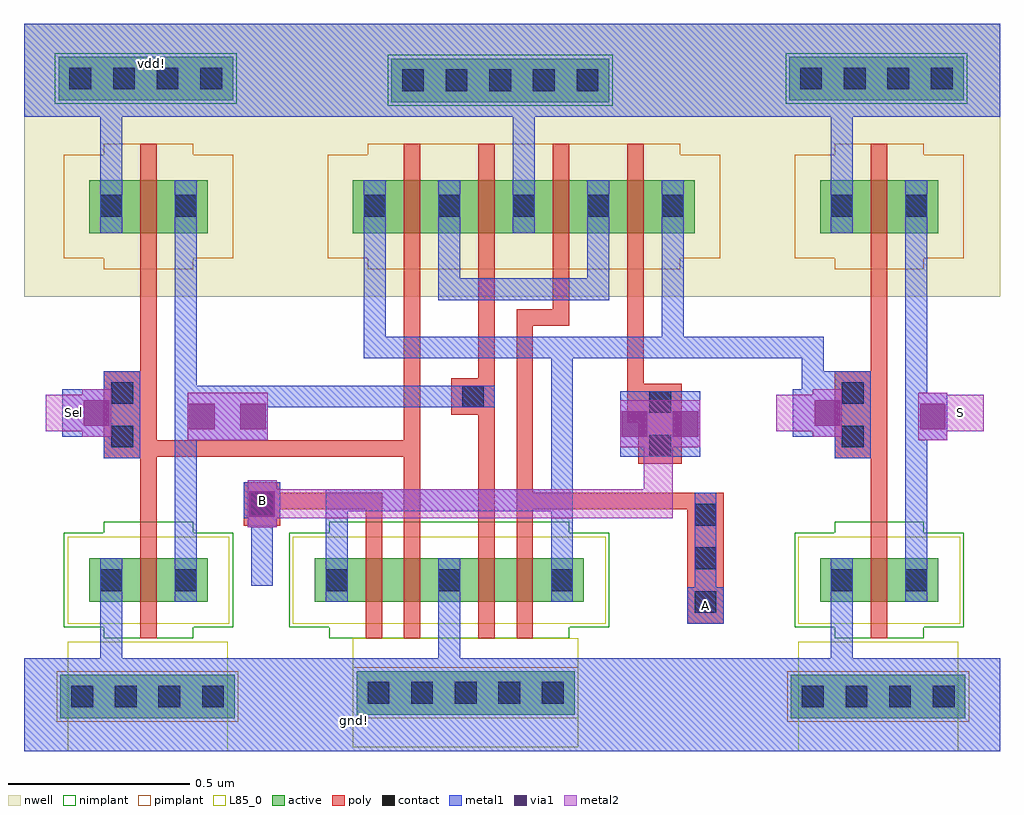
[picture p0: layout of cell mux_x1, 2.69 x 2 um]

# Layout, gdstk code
from math import pi, radians
import gdstk
lib = gdstk.Library(unit=1e-6, precision=5e-10)
def R(c, l, rs):  # rectangles x0, y0, x1, y1
    for r in rs: c.add(gdstk.rectangle(r[:2], r[2:], *l))
def A(c, l, x, y, w, h, nx, ny, dx, dy):  # array of equal rectangles
    R(c, l, [(x+i*dx, y+j*dy, x+i*dx+w, y+j*dy+h) for i in range(nx) for j in range(ny)])
active = (1, 0)
nwell = (2, 0)
poly = (3, 0)
nimplant = (4, 0)
pimplant = (5, 0)
contact = (6, 0)
metal1 = (7, 0)
via1 = (8, 0)
metal2 = (9, 0)
L85_0 = (85, 0)

nmos1v_cdns_764107443710 = lib.new_cell('nmos1v_CDNS_764107443710')
R(nmos1v_cdns_764107443710, active, [(-0.14,0,0,0.12), (0,0,0.045,0.12), (0.045,0,0.185,0.12)])
R(nmos1v_cdns_764107443710, poly, [(0,-0.1,0.045,-0.05), (0,-0.05,0.045,0), (0,0,0.045,0.12), (0,0.12,0.045,0.17), (0,0.17,0.045,0.22)])
R(nmos1v_cdns_764107443710, nimplant, [(-0.1,-0.1,0.145,0.22), (-0.21,-0.07,0.255,0.19)])
R(nmos1v_cdns_764107443710, contact, [(-0.11,0.03,-0.05,0.09), (0.095,0.03,0.155,0.09)])
R(nmos1v_cdns_764107443710, metal1, [(-0.11,0,-0.05,0.12), (0.095,0,0.155,0.12)])
R(nmos1v_cdns_764107443710, L85_0, [(-0.2,-0.06,0.245,0.18)])

pmos1v_cdns_764107443711 = lib.new_cell('pmos1v_CDNS_764107443711')
R(pmos1v_cdns_764107443711, active, [(-0.14,0,0,0.145), (0,0,0.045,0.145), (0.045,0,0.185,0.145)])
R(pmos1v_cdns_764107443711, nwell, [(-0.2,-0.06,0.245,0.205)])
R(pmos1v_cdns_764107443711, poly, [(0,-0.1,0.045,-0.05), (0,-0.05,0.045,0), (0,0,0.045,0.145), (0,0.145,0.045,0.195), (0,0.195,0.045,0.245)])
R(pmos1v_cdns_764107443711, pimplant, [(-0.1,-0.1,0.145,0.245), (-0.21,-0.07,0.255,0.215)])
R(pmos1v_cdns_764107443711, contact, [(-0.11,0.045,-0.05,0.105), (0.095,0.045,0.155,0.105)])
R(pmos1v_cdns_764107443711, metal1, [(-0.11,0,-0.05,0.145), (0.095,0,0.155,0.145)])

m1_psub_cdns_76410744371 = lib.new_cell('M1_PSUB_CDNS_764107443718')
R(m1_psub_cdns_76410744371, active, [(-0.24,-0.06,0.24,0.06)])
R(m1_psub_cdns_76410744371, pimplant, [(-0.25,-0.07,0.25,0.07)])
A(m1_psub_cdns_76410744371, contact, -0.21, -0.03, 0.06, 0.06, 4, 1, 0.12, 0)
R(m1_psub_cdns_76410744371, metal1, [(-0.21,-0.06,0.21,0.06)])
R(m1_psub_cdns_76410744371, L85_0, [(-0.22,-0.15,0.22,0.15)])

m1_po_cdns_764107443719 = lib.new_cell('M1_PO_CDNS_764107443719')
R(m1_po_cdns_764107443719, poly, [(-0.05,-0.12,0.05,0.12)])
R(m1_po_cdns_764107443719, contact, [(-0.03,-0.09,0.03,-0.03), (-0.03,0.03,0.03,0.09)])
R(m1_po_cdns_764107443719, metal1, [(-0.05,-0.12,0.05,0.12)])

m2_m1_cdns_764107443716 = lib.new_cell('M2_M1_CDNS_764107443716')
R(m2_m1_cdns_764107443716, metal1, [(-0.04,-0.065,0.04,0.065)])
R(m2_m1_cdns_764107443716, via1, [(-0.035,-0.035,0.035,0.035)])
R(m2_m1_cdns_764107443716, metal2, [(-0.04,-0.065,0.04,0.065)])

m2_m1_cdns_7641074437110 = lib.new_cell('M2_M1_CDNS_7641074437110')
R(m2_m1_cdns_7641074437110, metal1, [(-0.095,-0.065,0.095,0.065)])
R(m2_m1_cdns_7641074437110, via1, [(-0.035,-0.035,0.035,0.035)])
R(m2_m1_cdns_7641074437110, metal2, [(-0.04,-0.065,0.04,0.065)])

m1_nwell_cdns_7641074437 = lib.new_cell('M1_NWELL_CDNS_7641074437111')
R(m1_nwell_cdns_7641074437, active, [(-0.24,-0.06,0.24,0.06)])
R(m1_nwell_cdns_7641074437, nwell, [(-0.27,-0.15,0.27,0.15)])
R(m1_nwell_cdns_7641074437, nimplant, [(-0.25,-0.07,0.25,0.07)])
A(m1_nwell_cdns_7641074437, contact, -0.21, -0.03, 0.06, 0.06, 4, 1, 0.12, 0)
R(m1_nwell_cdns_7641074437, metal1, [(-0.21,-0.06,0.21,0.06)])

inv_x1 = lib.new_cell('inv_x1')
R(inv_x1, nwell, [(0,1.25,0.675,2)])
R(inv_x1, metal1, [(0,0,0.675,0.255), (0.275,0.035,0.375,0.135), (0,1.745,0.675,2), (0.3,1.895,0.4,1.995)])
R(inv_x1, metal2, [(0.06,0.88,0.16,0.98), (0.53,0.88,0.63,0.98)])
inv_x1.add(gdstk.FlexPath([(0.3425,1.325),(0.3425,0.63)], 0.045, ends="flush", simple_path=True, layer=3, datatype=0))  # poly
inv_x1.add(gdstk.FlexPath([(0.24,1.545),(0.24,1.93)], 0.06, ends=(0, 0.07), simple_path=True, layer=7, datatype=0))  # metal1
inv_x1.add(gdstk.FlexPath([(0.24,0.41),(0.24,0.07)], 0.06, ends=(0, 0.07), simple_path=True, layer=7, datatype=0))  # metal1
inv_x1.add(gdstk.FlexPath([(0.445,1.425),(0.445,0.53)], 0.06, ends="flush", simple_path=True, layer=7, datatype=0))  # metal1
inv_x1.add(gdstk.Reference(nmos1v_cdns_764107443710, (0.32,0.41)))
inv_x1.add(gdstk.Reference(pmos1v_cdns_764107443711, (0.32,1.425)))
inv_x1.add(gdstk.Reference(m1_psub_cdns_76410744371, (0.34,0.15)))
inv_x1.add(gdstk.Reference(m1_po_cdns_764107443719, (0.27,0.925)))
inv_x1.add(gdstk.Reference(m2_m1_cdns_764107443716, (0.49,0.92)))
inv_x1.add(gdstk.Reference(m2_m1_cdns_7641074437110, (0.2,0.93)))
inv_x1.add(gdstk.Reference(m1_nwell_cdns_7641074437, (0.335,1.85)))
inv_x1.add(gdstk.Label('vdd!', (0.35,1.945), layer=7, texttype=0))
inv_x1.add(gdstk.Label('gnd!', (0.325,0.085), layer=7, texttype=0))
inv_x1.add(gdstk.Label('Vin', (0.11,0.93), layer=9, texttype=0))
inv_x1.add(gdstk.Label('Vout', (0.58,0.93), layer=9, texttype=0))

pmos1v_cdns_764107443712 = lib.new_cell('pmos1v_CDNS_764107443712')
R(pmos1v_cdns_764107443712, active, [(-0.05,0,0,0.145), (0,0,0.045,0.145), (0.045,0,0.155,0.145)])
R(pmos1v_cdns_764107443712, nwell, [(-0.11,-0.06,0.215,0.205)])
R(pmos1v_cdns_764107443712, poly, [(0,-0.1,0.045,-0.05), (0,-0.05,0.045,0), (0,0,0.045,0.145), (0,0.145,0.045,0.195), (0,0.195,0.045,0.245)])
R(pmos1v_cdns_764107443712, pimplant, [(-0.1,-0.1,0.145,0.245), (-0.12,-0.07,0.225,0.215)])
R(pmos1v_cdns_764107443712, contact, [(0.095,0.045,0.155,0.105)])
R(pmos1v_cdns_764107443712, metal1, [(0.095,0,0.155,0.145)])

nmos1v_cdns_764107443713 = lib.new_cell('nmos1v_CDNS_764107443713')
R(nmos1v_cdns_764107443713, active, [(-0.05,0,0,0.12), (0,0,0.045,0.12), (0.045,0,0.075,0.12)])
R(nmos1v_cdns_764107443713, poly, [(0,-0.1,0.045,-0.05), (0,-0.05,0.045,0), (0,0,0.045,0.12), (0,0.12,0.045,0.17), (0,0.17,0.045,0.22)])
R(nmos1v_cdns_764107443713, nimplant, [(-0.1,-0.1,0.145,0.22), (-0.12,-0.07,0.145,0.19)])
R(nmos1v_cdns_764107443713, L85_0, [(-0.11,-0.06,0.135,0.18)])

nmos1v_cdns_764107443714 = lib.new_cell('nmos1v_CDNS_764107443714')
R(nmos1v_cdns_764107443714, active, [(-0.03,0,0,0.12), (0,0,0.045,0.12), (0.045,0,0.185,0.12)])
R(nmos1v_cdns_764107443714, poly, [(0,-0.1,0.045,-0.05), (0,-0.05,0.045,0), (0,0,0.045,0.12), (0,0.12,0.045,0.17), (0,0.17,0.045,0.22)])
R(nmos1v_cdns_764107443714, nimplant, [(-0.1,-0.1,0.145,0.22), (-0.1,-0.07,0.255,0.19)])
R(nmos1v_cdns_764107443714, contact, [(0.095,0.03,0.155,0.09)])
R(nmos1v_cdns_764107443714, metal1, [(0.095,0,0.155,0.12)])
R(nmos1v_cdns_764107443714, L85_0, [(-0.09,-0.06,0.245,0.18)])

nmos1v_cdns_764107443715 = lib.new_cell('nmos1v_CDNS_764107443715')
R(nmos1v_cdns_764107443715, active, [(-0.11,0,0,0.12), (0,0,0.045,0.12), (0.045,0,0.075,0.12)])
R(nmos1v_cdns_764107443715, poly, [(0,-0.1,0.045,-0.05), (0,-0.05,0.045,0), (0,0,0.045,0.12), (0,0.12,0.045,0.17), (0,0.17,0.045,0.22)])
R(nmos1v_cdns_764107443715, nimplant, [(-0.1,-0.1,0.145,0.22), (-0.18,-0.07,0.145,0.19)])
R(nmos1v_cdns_764107443715, contact, [(-0.11,0.03,-0.05,0.09)])
R(nmos1v_cdns_764107443715, metal1, [(-0.11,0,-0.05,0.12)])
R(nmos1v_cdns_764107443715, L85_0, [(-0.17,-0.06,0.135,0.18)])

pmos1v_cdns_764107443716 = lib.new_cell('pmos1v_CDNS_764107443716')
R(pmos1v_cdns_764107443716, active, [(-0.05,0,0,0.145), (0,0,0.045,0.145), (0.045,0,0.185,0.145)])
R(pmos1v_cdns_764107443716, nwell, [(-0.11,-0.06,0.245,0.205)])
R(pmos1v_cdns_764107443716, poly, [(0,-0.1,0.045,-0.05), (0,-0.05,0.045,0), (0,0,0.045,0.145), (0,0.145,0.045,0.195), (0,0.195,0.045,0.245)])
R(pmos1v_cdns_764107443716, pimplant, [(-0.1,-0.1,0.145,0.245), (-0.12,-0.07,0.255,0.215)])
R(pmos1v_cdns_764107443716, contact, [(0.095,0.045,0.155,0.105)])
R(pmos1v_cdns_764107443716, metal1, [(0.095,0,0.155,0.145)])

pmos1v_cdns_764107443717 = lib.new_cell('pmos1v_CDNS_764107443717')
R(pmos1v_cdns_764107443717, active, [(-0.14,0,0,0.145), (0,0,0.045,0.145), (0.045,0,0.095,0.145)])
R(pmos1v_cdns_764107443717, nwell, [(-0.2,-0.06,0.155,0.205)])
R(pmos1v_cdns_764107443717, poly, [(0,-0.1,0.045,-0.05), (0,-0.05,0.045,0), (0,0,0.045,0.145), (0,0.145,0.045,0.195), (0,0.195,0.045,0.245)])
R(pmos1v_cdns_764107443717, pimplant, [(-0.1,-0.1,0.145,0.245), (-0.21,-0.07,0.165,0.215)])
R(pmos1v_cdns_764107443717, contact, [(-0.11,0.045,-0.05,0.105)])
R(pmos1v_cdns_764107443717, metal1, [(-0.11,0,-0.05,0.145)])

pmos1v_cdns_764107443718 = lib.new_cell('pmos1v_CDNS_764107443718')
R(pmos1v_cdns_764107443718, active, [(-0.11,0,0,0.145), (0,0,0.045,0.145), (0.045,0,0.155,0.145)])
R(pmos1v_cdns_764107443718, nwell, [(-0.17,-0.06,0.215,0.205)])
R(pmos1v_cdns_764107443718, poly, [(0,-0.1,0.045,-0.05), (0,-0.05,0.045,0), (0,0,0.045,0.145), (0,0.145,0.045,0.195), (0,0.195,0.045,0.245)])
R(pmos1v_cdns_764107443718, pimplant, [(-0.1,-0.1,0.145,0.245), (-0.18,-0.07,0.225,0.215)])
R(pmos1v_cdns_764107443718, contact, [(-0.11,0.045,-0.05,0.105), (0.095,0.045,0.155,0.105)])
R(pmos1v_cdns_764107443718, metal1, [(-0.11,0,-0.05,0.145), (0.095,0,0.155,0.145)])

m1_po_cdns_764107443710 = lib.new_cell('M1_PO_CDNS_764107443710')
R(m1_po_cdns_764107443710, poly, [(-0.05,-0.18,0.05,0.18)])
A(m1_po_cdns_764107443710, contact, -0.03, -0.15, 0.06, 0.06, 1, 3, 0, 0.12)
R(m1_po_cdns_764107443710, metal1, [(-0.03,-0.18,0.03,0.18)])

m1_po_cdns_764107443711 = lib.new_cell('M1_PO_CDNS_764107443711')
R(m1_po_cdns_764107443711, poly, [(-0.05,-0.06,0.05,0.06)])
R(m1_po_cdns_764107443711, contact, [(-0.03,-0.03,0.03,0.03)])
R(m1_po_cdns_764107443711, metal1, [(-0.03,-0.06,0.03,0.06)])

m2_m1_cdns_764107443712 = lib.new_cell('M2_M1_CDNS_764107443712')
R(m2_m1_cdns_764107443712, metal1, [(-0.11,-0.065,0.11,0.065)])
R(m2_m1_cdns_764107443712, via1, [(-0.105,-0.035,-0.035,0.035), (0.035,-0.035,0.105,0.035)])
R(m2_m1_cdns_764107443712, metal2, [(-0.11,-0.065,0.11,0.065)])

m1_po_cdns_764107443713 = lib.new_cell('M1_PO_CDNS_764107443713')
R(m1_po_cdns_764107443713, poly, [(-0.05,-0.12,0.05,0.12)])
R(m1_po_cdns_764107443713, contact, [(-0.03,-0.09,0.03,-0.03), (-0.03,0.03,0.03,0.09)])
R(m1_po_cdns_764107443713, metal1, [(-0.03,-0.12,0.03,0.12)])

c_m1_nwell_cdns_7641074437 = lib.new_cell('M1_NWELL_CDNS_764107443714')
R(c_m1_nwell_cdns_7641074437, active, [(-0.06,-0.3,0.06,0.3)])
R(c_m1_nwell_cdns_7641074437, nwell, [(-0.15,-0.36,0.15,0.36)])
R(c_m1_nwell_cdns_7641074437, nimplant, [(-0.07,-0.31,0.07,0.31)])
A(c_m1_nwell_cdns_7641074437, contact, -0.03, -0.27, 0.06, 0.06, 1, 5, 0, 0.12)
R(c_m1_nwell_cdns_7641074437, metal1, [(-0.03,-0.3,0.03,0.3)])

c_m1_psub_cdns_76410744371 = lib.new_cell('M1_PSUB_CDNS_764107443715')
R(c_m1_psub_cdns_76410744371, active, [(-0.06,-0.3,0.06,0.3)])
R(c_m1_psub_cdns_76410744371, pimplant, [(-0.07,-0.31,0.07,0.31)])
A(c_m1_psub_cdns_76410744371, contact, -0.03, -0.27, 0.06, 0.06, 1, 5, 0, 0.12)
R(c_m1_psub_cdns_76410744371, metal1, [(-0.03,-0.3,0.03,0.3)])
R(c_m1_psub_cdns_76410744371, L85_0, [(-0.15,-0.31,0.15,0.31)])

m1_po_cdns_764107443717 = lib.new_cell('M1_PO_CDNS_764107443717')
R(m1_po_cdns_764107443717, poly, [(-0.11,-0.06,0.11,0.06)])
R(m1_po_cdns_764107443717, contact, [(-0.09,-0.03,-0.03,0.03), (0.03,-0.03,0.09,0.03)])
R(m1_po_cdns_764107443717, metal1, [(-0.09,-0.11,0.09,0.11)])

mux_x1 = lib.new_cell('mux_x1')
R(mux_x1, nwell, [(0,1.25,2.685,2)])
R(mux_x1, metal1, [(0,0,2.685,0.255), (0.86,0.035,0.96,0.135), (1.825,0.35,1.925,0.45), (0.605,0.64,0.705,0.74), (2.2,0.995,2.23,1.045), (0,1.745,2.685,2), (0.3,1.84,0.4,1.94)])
R(mux_x1, metal2, [(0.085,0.88,0.185,0.98), (2.525,0.88,2.625,0.98)])
mux_x1.add(gdstk.FlexPath([(1.2725,0.63),(1.2725,1.325)], 0.045, ends="flush", simple_path=True, layer=3, datatype=0))  # poly
mux_x1.add(gdstk.FlexPath([(1.6825,1.325),(1.6825,0.905)], 0.045, ends="flush", simple_path=True, layer=3, datatype=0))  # poly
mux_x1.add(gdstk.FlexPath([(1.0675,0.8325),(1.0675,0.63)], 0.045, ends=(0.0225, 0), simple_path=True, layer=3, datatype=0))  # poly
mux_x1.add(gdstk.FlexPath([(1.3775,1.1925),(1.4775,1.1925)], 0.045, ends="extended", simple_path=True, layer=3, datatype=0))  # poly
mux_x1.add(gdstk.FlexPath([(1.3775,0.63),(1.3775,0.6875)], 0.045, ends=(0, 0.0225), simple_path=True, layer=3, datatype=0))  # poly
mux_x1.add(gdstk.FlexPath([(0.6525,0.6875),(0.6525,0.68)], 0.045, ends=(0.0225, 0), simple_path=True, layer=3, datatype=0))  # poly
mux_x1.add(gdstk.FlexPath([(1.4775,1.1925),(1.4775,1.325)], 0.045, ends=(0.0225, 0), simple_path=True, layer=3, datatype=0))  # poly
mux_x1.add(gdstk.FlexPath([(1.3775,0.6875),(1.3775,1.1925)], 0.045, ends="extended", simple_path=True, layer=3, datatype=0))  # poly
mux_x1.add(gdstk.FlexPath([(1.3775,0.6875),(1.875,0.6875)], 0.045, ends=(0.0225, 0), simple_path=True, layer=3, datatype=0))  # poly
mux_x1.add(gdstk.FlexPath([(0.9625,0.6875),(0.6525,0.6875)], 0.045, ends="extended", simple_path=True, layer=3, datatype=0))  # poly
mux_x1.add(gdstk.FlexPath([(0.9625,0.63),(0.9625,0.6875)], 0.045, ends=(0, 0.0225), simple_path=True, layer=3, datatype=0))  # poly
mux_x1.add(gdstk.FlexPath([(1.0675,0.8325),(0.315,0.8325)], 0.045, ends=(0.0225, 0), simple_path=True, layer=3, datatype=0))  # poly
mux_x1.add(gdstk.FlexPath([(1.0675,1.325),(1.0675,0.8325)], 0.045, ends=(0, 0.0225), simple_path=True, layer=3, datatype=0))  # poly
mux_x1.add(gdstk.FlexPath([(1.48,0.69),(1.48,1.11)], 0.06, ends="extended", simple_path=True, layer=7, datatype=0))  # metal1
mux_x1.add(gdstk.FlexPath([(0.965,1.11),(1.48,1.11)], 0.06, ends="extended", simple_path=True, layer=7, datatype=0))  # metal1
mux_x1.add(gdstk.FlexPath([(1.235,0.975),(0.415,0.975)], 0.06, ends="flush", simple_path=True, layer=7, datatype=0))  # metal1
mux_x1.add(gdstk.FlexPath([(1.48,0.69),(1.48,0.53)], 0.06, ends=(0.03, 0), simple_path=True, layer=7, datatype=0))  # metal1
mux_x1.add(gdstk.FlexPath([(1.785,1.11),(1.785,1.425)], 0.06, ends=(0.03, 0), simple_path=True, layer=7, datatype=0))  # metal1
mux_x1.add(gdstk.FlexPath([(0.655,0.68),(0.655,0.455)], 0.06, ends="flush", simple_path=True, layer=7, datatype=0))  # metal1
mux_x1.add(gdstk.FlexPath([(1.17,1.425),(1.17,1.27)], 0.06, ends=(0, 0.03), simple_path=True, layer=7, datatype=0))  # metal1
mux_x1.add(gdstk.FlexPath([(0.86,0.53),(0.86,0.69)], 0.06, ends=(0, 0.03), simple_path=True, layer=7, datatype=0))  # metal1
mux_x1.add(gdstk.FlexPath([(1.58,1.27),(1.58,1.425)], 0.06, ends=(0.03, 0), simple_path=True, layer=7, datatype=0))  # metal1
mux_x1.add(gdstk.FlexPath([(1.17,1.27),(1.58,1.27)], 0.06, ends="extended", simple_path=True, layer=7, datatype=0))  # metal1
mux_x1.add(gdstk.FlexPath([(0.86,0.69),(1.48,0.69)], 0.06, ends="extended", simple_path=True, layer=7, datatype=0))  # metal1
mux_x1.add(gdstk.FlexPath([(1.17,0.41),(1.17,0.255)], 0.06, ends="flush", simple_path=True, layer=7, datatype=0))  # metal1
mux_x1.add(gdstk.FlexPath([(1.375,1.57),(1.375,1.745)], 0.06, ends="flush", simple_path=True, layer=7, datatype=0))  # metal1
mux_x1.add(gdstk.FlexPath([(0.965,1.425),(0.965,1.11)], 0.06, ends=(0, 0.03), simple_path=True, layer=7, datatype=0))  # metal1
mux_x1.add(gdstk.FlexPath([(1.48,1.11),(1.785,1.11)], 0.06, ends="extended", simple_path=True, layer=7, datatype=0))  # metal1
mux_x1.add(gdstk.FlexPath([(1.875,0.685),(1.875,0.38)], 0.06, ends="flush", simple_path=True, layer=7, datatype=0))  # metal1
mux_x1.add(gdstk.FlexPath([(2.17,1.11),(2.17,0.905)], 0.06, ends=(0.03, 0), simple_path=True, layer=7, datatype=0))  # metal1
mux_x1.add(gdstk.FlexPath([(1.785,1.11),(2.17,1.11)], 0.06, ends="extended", simple_path=True, layer=7, datatype=0))  # metal1
mux_x1.add(gdstk.FlexPath([(1.745,0.68),(1.745,0.93)], 0.08, ends=(0.04, 0), simple_path=True, layer=9, datatype=0))  # metal2
mux_x1.add(gdstk.FlexPath([(0.655,0.68),(1.745,0.68)], 0.08, ends=(0, 0.04), simple_path=True, layer=9, datatype=0))  # metal2
mux_x1.add(gdstk.Reference(inv_x1, (2.01,0)))
mux_x1.add(gdstk.Reference(inv_x1, (0,0)))
mux_x1.add(gdstk.Reference(pmos1v_cdns_764107443712, (1.295,1.425), rotation=pi, x_reflection=True))
mux_x1.add(gdstk.Reference(nmos1v_cdns_764107443713, (1.25,0.41)))
mux_x1.add(gdstk.Reference(nmos1v_cdns_764107443714, (1.355,0.41)))
mux_x1.add(gdstk.Reference(nmos1v_cdns_764107443714, (0.985,0.41), rotation=pi, x_reflection=True))
mux_x1.add(gdstk.Reference(nmos1v_cdns_764107443715, (1.09,0.41), rotation=pi, x_reflection=True))
mux_x1.add(gdstk.Reference(pmos1v_cdns_764107443716, (1.09,1.425), rotation=pi, x_reflection=True))
mux_x1.add(gdstk.Reference(pmos1v_cdns_764107443717, (1.705,1.425), rotation=pi, x_reflection=True))
mux_x1.add(gdstk.Reference(pmos1v_cdns_764107443718, (1.5,1.425), rotation=pi, x_reflection=True))
mux_x1.add(gdstk.Reference(m1_po_cdns_764107443710, (1.875,0.53)))
mux_x1.add(gdstk.Reference(m1_po_cdns_764107443711, (0.655,0.68)))
mux_x1.add(gdstk.Reference(m1_po_cdns_764107443711, (1.235,0.975), rotation=pi/2))
mux_x1.add(gdstk.Reference(m2_m1_cdns_764107443712, (1.75,0.9), rotation=pi))
mux_x1.add(gdstk.Reference(m2_m1_cdns_764107443712, (0.56,0.92)))
mux_x1.add(gdstk.Reference(m1_po_cdns_764107443713, (0.27,0.925)))
mux_x1.add(gdstk.Reference(c_m1_nwell_cdns_7641074437, (1.31,1.845), rotation=pi/2))
mux_x1.add(gdstk.Reference(c_m1_psub_cdns_76410744371, (1.215,0.16), rotation=pi/2))
mux_x1.add(gdstk.Reference(m2_m1_cdns_764107443716, (0.2,0.93)))
mux_x1.add(gdstk.Reference(m2_m1_cdns_764107443716, (0.655,0.68)))
mux_x1.add(gdstk.Reference(m1_po_cdns_764107443717, (1.75,0.9), rotation=pi/2))
mux_x1.add(gdstk.Label('vdd!', (0.35,1.89), layer=7, texttype=0))
mux_x1.add(gdstk.Label('gnd!', (0.91,0.085), layer=7, texttype=0))
mux_x1.add(gdstk.Label('A', (1.875,0.4), layer=7, texttype=0))
mux_x1.add(gdstk.Label('B', (0.655,0.69), layer=9, texttype=0))
mux_x1.add(gdstk.Label('Sel', (0.135,0.93), layer=9, texttype=0))
mux_x1.add(gdstk.Label('S', (2.575,0.93), layer=9, texttype=0))

lib.write_gds('mux_x1.gds')
